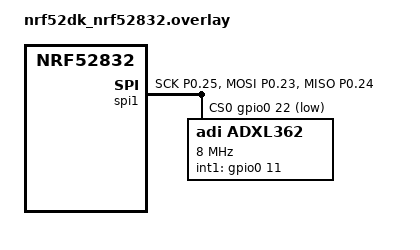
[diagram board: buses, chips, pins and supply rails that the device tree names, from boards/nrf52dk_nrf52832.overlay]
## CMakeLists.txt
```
# Copyright (c) 2019 Brett Witherspoon
#
# SPDX-License-Identifier: Apache-2.0

cmake_minimum_required(VERSION 3.20.0)

find_package(Zephyr REQUIRED HINTS $ENV{ZEPHYR_BASE})
project(adxl362)

target_sources(app PRIVATE src/main.c)
```

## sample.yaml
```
sample:
  name: adxl362 sample
  description: ADXL362 accelerometer sample application
tests:
  sample.sensor.adxl362:
    harness: sensor
    tags: sensors
    depends_on: spi
    integration_platforms:
      - nrf52dk_nrf52832
    platform_allow: nrf52dk_nrf52832
```

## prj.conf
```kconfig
CONFIG_STDOUT_CONSOLE=y
CONFIG_SPI=y
CONFIG_SENSOR=y
CONFIG_ADXL362_TRIGGER_GLOBAL_THREAD=y
CONFIG_ADXL362_INTERRUPT_MODE=1
CONFIG_ADXL362_ABS_REF_MODE=1
CONFIG_CBPRINTF_FP_SUPPORT=y
```

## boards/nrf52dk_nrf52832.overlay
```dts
/*
 * Copyright (c) 2019 Nordic Semiconductor ASA
 *
 * SPDX-License-Identifier: Apache-2.0
 */

&pinctrl {
	spi1_default_alt: spi1_default_alt {
		group1 {
			psels = <NRF_PSEL(SPIM_SCK, 0, 25)>,
				<NRF_PSEL(SPIM_MOSI, 0, 23)>,
				<NRF_PSEL(SPIM_MISO, 0, 24)>;
		};
	};

	spi1_sleep_alt: spi1_sleep_alt {
		group1 {
			psels = <NRF_PSEL(SPIM_SCK, 0, 25)>,
				<NRF_PSEL(SPIM_MOSI, 0, 23)>,
				<NRF_PSEL(SPIM_MISO, 0, 24)>;
			low-power-enable;
		};
	};
};

&spi1 {
	status = "okay";
	pinctrl-0 = <&spi1_default_alt>;
	pinctrl-1 = <&spi1_sleep_alt>;
	pinctrl-names = "default", "sleep";
	cs-gpios = <&gpio0 22 GPIO_ACTIVE_LOW>;

	adxl362@0 {
		compatible = "adi,adxl362";
		label = "ADXL362";
		spi-max-frequency = <8000000>;
		reg = <0>;
		int1-gpios = <&gpio0 11 GPIO_ACTIVE_HIGH>;
	};
};
```

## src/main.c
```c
/*
 * Copyright (c) 2019 Brett Witherspoon
 *
 * SPDX-License-Identifier: Apache-2.0
 */

#include <zephyr/zephyr.h>
#include <stdio.h>
#include <zephyr/device.h>
#include <zephyr/drivers/sensor.h>

K_SEM_DEFINE(sem, 0, 1);

static void trigger_handler(const struct device *dev,
			    const struct sensor_trigger *trig)
{
	switch (trig->type) {
	case SENSOR_TRIG_DATA_READY:
		if (sensor_sample_fetch(dev) < 0) {
			printf("Sample fetch error\n");
			return;
		}
		k_sem_give(&sem);
		break;
	case SENSOR_TRIG_MOTION:
		printf("Motion trigger\n");
		break;
	case SENSOR_TRIG_STATIONARY:
		printf("Stationary trigger\n");
		break;
	default:
		printf("Unknown trigger\n");
	}
}

void main(void)
{
	struct sensor_value accel[3];

	const struct device *dev = DEVICE_DT_GET_ONE(adi_adxl362);

	if (!device_is_ready(dev)) {
		printf("Device %s is not ready\n", dev->name);
		return;
	}

	if (IS_ENABLED(CONFIG_ADXL362_TRIGGER)) {
		struct sensor_trigger trig = { .chan = SENSOR_CHAN_ACCEL_XYZ };

		trig.type = SENSOR_TRIG_MOTION;
		if (sensor_trigger_set(dev, &trig, trigger_handler)) {
			printf("Trigger set error\n");
			return;
		}

		trig.type = SENSOR_TRIG_STATIONARY;
		if (sensor_trigger_set(dev, &trig, trigger_handler)) {
			printf("Trigger set error\n");
			return;
		}

		trig.type = SENSOR_TRIG_DATA_READY;
		if (sensor_trigger_set(dev, &trig, trigger_handler)) {
			printf("Trigger set error\n");
		}
	}

	while (true) {
		if (IS_ENABLED(CONFIG_ADXL362_TRIGGER)) {
			k_sem_take(&sem, K_FOREVER);
		} else {
			k_sleep(K_MSEC(1000));
			if (sensor_sample_fetch(dev) < 0) {
				printf("Sample fetch error\n");
				return;
			}
		}

		if (sensor_channel_get(dev, SENSOR_CHAN_ACCEL_X, &accel[0]) < 0) {
			printf("Channel get error\n");
			return;
		}

		if (sensor_channel_get(dev, SENSOR_CHAN_ACCEL_Y, &accel[1]) < 0) {
			printf("Channel get error\n");
			return;
		}

		if (sensor_channel_get(dev, SENSOR_CHAN_ACCEL_Z, &accel[2]) < 0) {
			printf("Channel get error\n");
			return;
		}

		printf("x: %.1f, y: %.1f, z: %.1f (m/s^2)\n",
		       sensor_value_to_double(&accel[0]),
		       sensor_value_to_double(&accel[1]),
		       sensor_value_to_double(&accel[2]));
	}
}
```
